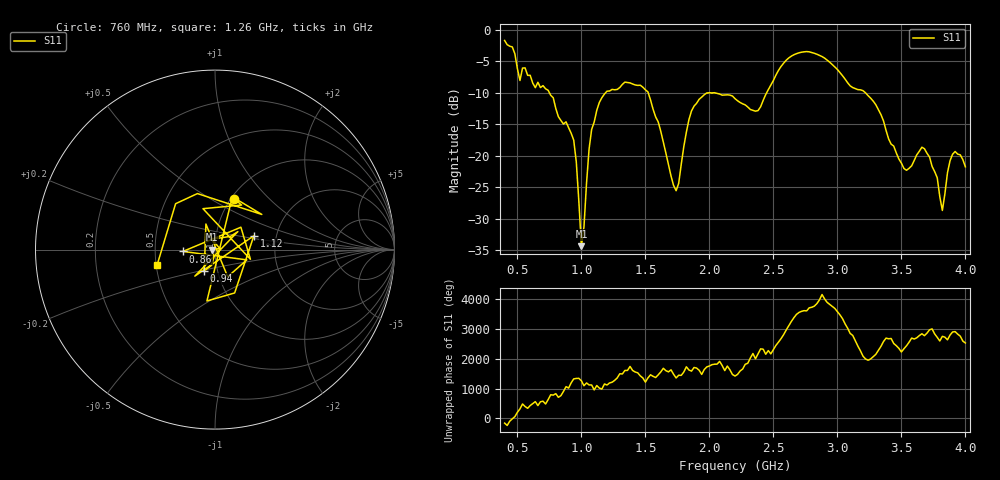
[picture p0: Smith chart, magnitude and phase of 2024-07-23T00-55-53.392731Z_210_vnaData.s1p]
!Created with skrf (http://scikit-rf.org).
# Hz S RI R 50.0
!freq ReS11 ImS11
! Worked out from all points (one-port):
!   181 points, 400 MHz to 4 GHz, reference 50 ohm
!   lowest |S11| = -34.4 dB at 1 GHz (marker M1), VSWR 1.04, Z = 48.1 + j0.0216 ohm
!   |S11| at or under -10 dB: 750.5 MHz to 1.188 GHz (437.6 MHz wide, 45.1 % of centre); 1.522 GHz to 1.988 GHz (465.6 MHz wide, 26.5 % of centre); 3.22 GHz to end of sweep (the widest 3 of 5)
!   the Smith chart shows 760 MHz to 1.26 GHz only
!   S11 on the Smith chart (normalised r, x): 760 MHz: 1.03, +0.64; 860 MHz: 0.70, -0.01; 940 MHz: 0.86, -0.21; 1.12 GHz: 1.53, +0.25; 1.26 GHz: 0.51, -0.10
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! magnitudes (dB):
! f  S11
! 400 MHz  -1.7
! 520 MHz  -8.0
! 560 MHz  -6.0
! 760 MHz  -10.4
! 860 MHz  -14.9
! 940 MHz  -17.5
! 960 MHz  -20.9
! 1 GHz  -34.4
! 1.06 GHz  -18.9
! 1.12 GHz  -12.8
! 1.26 GHz  -9.5
! 1.3 GHz  -9.1
! 1.52 GHz  -9.9
! 1.72 GHz  -24.7
! 1.76 GHz  -24.4
! 1.88 GHz  -12.1
! 2.2 GHz  -10.9
! 2.38 GHz  -12.8
! 2.66 GHz  -3.9
! 2.88 GHz  -4.2
! 3.1 GHz  -8.9
! 3.3 GHz  -11.9
! 3.56 GHz  -22.0
! 3.68 GHz  -18.9
! 3.78 GHz  -23.5
! 3.82 GHz  -28.7
! 3.9 GHz  -19.7
! 4 GHz  -21.7
